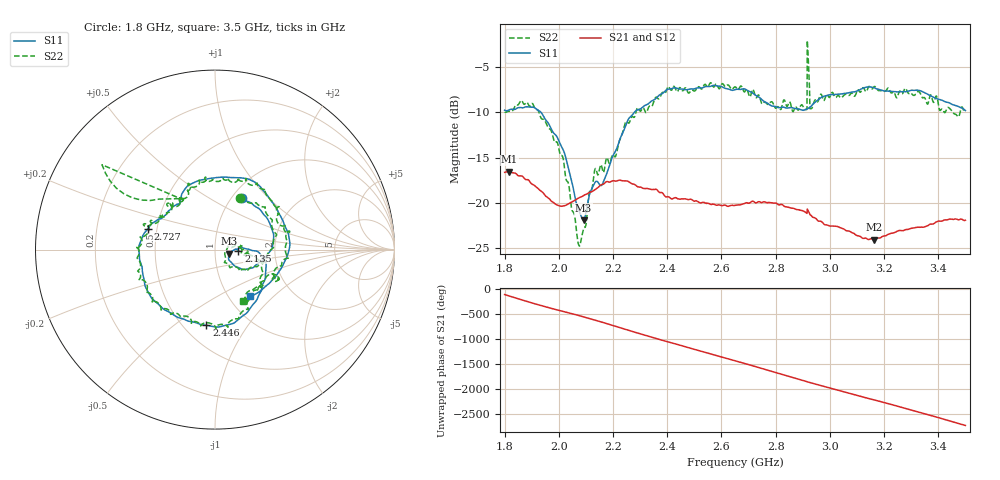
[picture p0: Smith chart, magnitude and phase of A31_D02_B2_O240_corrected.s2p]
! Created with skrf 1.9.0 (http://scikit-rf.org).
# Hz S RI R 50.0
!freq ReS11 ImS11 ReS21 ImS21 ReS12 ImS12 ReS22 ImS22
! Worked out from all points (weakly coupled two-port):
!   1601 points, 1.8 GHz to 3.5 GHz, reference 50 ohm
!   highest |S21| = -16.56 dB at 1.817 GHz (marker M1); lowest = -24.1 dB at 3.163 GHz (marker M2)
!   lowest |S11| = -21.9 dB at 2.091 GHz (marker M3), VSWR 1.17, Z = 58.3 - j2.56 ohm
!   |S11| at or under -10 dB: 1.934 GHz to 2.279 GHz (344.8 MHz wide, 16.4 % of centre)
!   |S22| runs from -24.8 to -2.1 dB; largest |S21 - S12| = 0.0026
!   S11 on the Smith chart (normalised r, x): 1.8 GHz: 1.12, +0.71; 2.135 GHz: 1.30, -0.01; 2.446 GHz: 0.64, -0.66; 2.727 GHz: 0.45, +0.12; 3.5 GHz: 1.25, -0.72
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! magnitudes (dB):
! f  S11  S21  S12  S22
! 1.8 GHz  -9.8  -16.6  -16.6  -10.0
! 1.817 GHz  -9.7  -16.6  -16.6  -9.9
! 1.902 GHz  -9.4  -18.0  -17.9  -9.0
! 1.968 GHz  -11.6  -19.7  -19.7  -11.9
! 2.02 GHz  -14.4  -20.3  -20.3  -15.9
! 2.071 GHz  -20.6  -19.5  -19.5  -24.4
! 2.084 GHz  -21.6  -19.3  -19.3  -23.8
! 2.091 GHz  -21.9  -19.2  -19.2  -22.9
! 2.135 GHz  -17.7  -18.5  -18.5  -16.2
! 2.163 GHz  -17.8  -18.0  -17.9  -16.6
! 2.261 GHz  -10.6  -17.7  -17.7  -11.1
! 2.367 GHz  -8.2  -18.8  -18.7  -8.5
! 2.446 GHz  -7.4  -19.6  -19.6  -7.3
! 2.65 GHz  -7.5  -20.3  -20.3  -7.2
! 2.727 GHz  -8.1  -20.0  -20.0  -8.4
! 2.907 GHz  -9.7  -21.0  -21.0  -9.7
! 2.916 GHz  -9.6  -21.2  -21.2  -9.7
! 2.925 GHz  -9.5  -21.2  -21.2  -7.6
! 2.934 GHz  -9.2  -21.5  -21.5  -9.5
! 3.163 GHz  -7.3  -24.1  -24.0  -7.2
! 3.217 GHz  -7.7  -23.5  -23.4  -7.4
! 3.5 GHz  -9.8  -21.9  -21.9  -9.8
